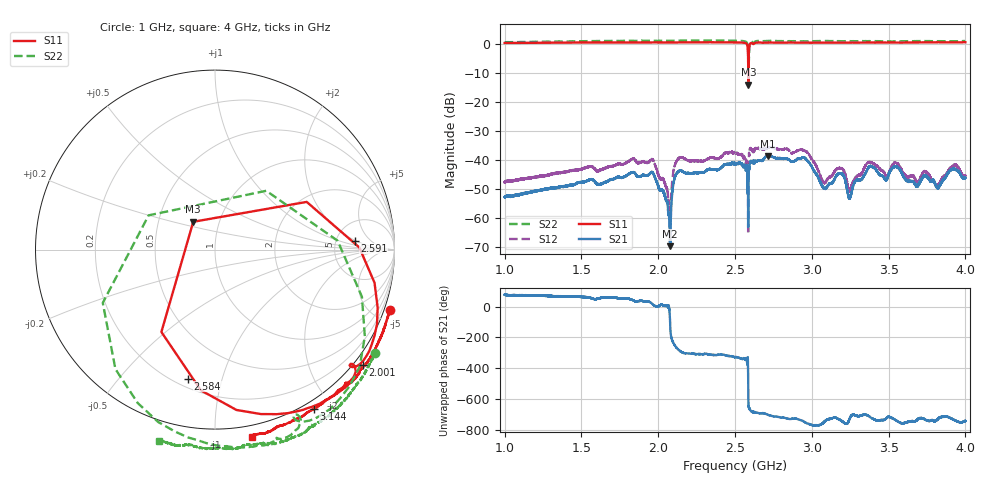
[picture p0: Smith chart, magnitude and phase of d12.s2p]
!Agilent Technologies,N5230C,SG49000117,A.08.50.07
!Agilent N5230C: A.08.50.07
!Date: Monday, May 20, 2024 19:50:14
!Correction: S11(Full 2 Port(1,2))
!S21(Full 2 Port(1,2))
!S12(Full 2 Port(1,2))
!S22(Full 2 Port(1,2))
!S2P File: Measurements: S11, S21, S12, S22:
# Hz S  MA  R 50
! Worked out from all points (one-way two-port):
!   20001 points, 1 GHz to 4 GHz, reference 50 ohm
!   highest |S21| = -38.68 dB at 2.713 GHz (marker M1); lowest = -69.8 dB at 2.078 GHz (marker M2)
!   lowest |S11| = -14.1 dB at 2.587 GHz (marker M3), VSWR 1.49, Z = 37.5 + j12.1 ohm
!   |S11| at or under -10 dB: 2.586433 GHz to 2.588041 GHz (1.608 MHz wide, 0.0621 % of centre)
!   |S22| runs from -8.9 to 1.1 dB; largest |S21 - S12| = 0.0096
!   S11 on the Smith chart (normalised r, x): 1 GHz: -0.55, -5.90; 2.001 GHz: -0.21, -2.88; 2.584 GHz: 0.25, -0.78; 2.591 GHz: 7.57, +1.93; 3.144 GHz: -0.09, -1.79; 4 GHz: -0.08, -1.22
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1e9  1.031 -19.1  0.002289 76.5  0.004122 62.6  1.063 -32.9
1.5001e9  1.047 -30.3  0.00409 62.3  0.006824 42.5  1.103 -48.0
2.00005e9  1.041 -38.5  0.003676 1.1  0.005801 -25.2  1.106 -60.5
2.0014e9  1.046 -38.1  0.003469 3.8  0.00552 -23.8  1.117 -60.1
2.07775e9  1.049 -39.4  0.0003238 -107.2  0.0005231 -136.5  1.122 -61.9
2.1046e9  1.049 -39.9  0.004547 112.7  0.007433 87.3  1.128 -62.5
2.1355e9  1.054 -40.3  0.006371 76.4  0.01066 51.6  1.13 -62.9
2.5e9  1.053 -48.2  0.008403 29.5  0.01273 -2.6  1.127 -75.1
2.56525e9  1.033 -57.1  0.007367 16.5  0.009828 -19.8  1.096 -87.3
2.584e9  0.7347 -101.7  0.005767 8.2  0.004857 -18.0  0.8266 -135.8
2.5873e9  0.1967 128.0  0.005117 82.7  0.004659 90.1  0.4161 152.7
2.5909e9  0.7795 3.7  0.00708 67.5  0.01183 69.8  0.6469 8.9
2.60485e9  1.031 -35.2  0.009505 39.8  0.01558 15.0  1.096 -57.0
2.71255e9  1.047 -46.5  0.01164 18.2  0.01627 -12.2  1.117 -72.8
3.0001e9  1.042 -54.2  0.007541 -49.4  0.01029 -82.0  1.107 -82.3
3.0772e9  1.045 -56.1  0.003251 -32.7  0.004012 -65.0  1.116 -84.4
3.14365e9  1.045 -58.3  0.00441 -0.7  0.005906 -35.3  1.113 -86.6
3.1978e9  1.043 -59.8  0.005661 -24.7  0.006981 -57.5  1.104 -88.5
3.247e9  1.045 -61.1  0.002214 -7.1  0.00292 -43.1  1.104 -90.1
3.3706e9  1.048 -64.3  0.007445 9.6  0.009139 -30.1  1.108 -93.1
3.50005e9  1.049 -67.7  0.005522 4.5  0.005756 -33.0  1.097 -96.6
4e9  1.063 -78.8  0.004923 -23.0  0.00533 -57.6  1.114 -106.4
